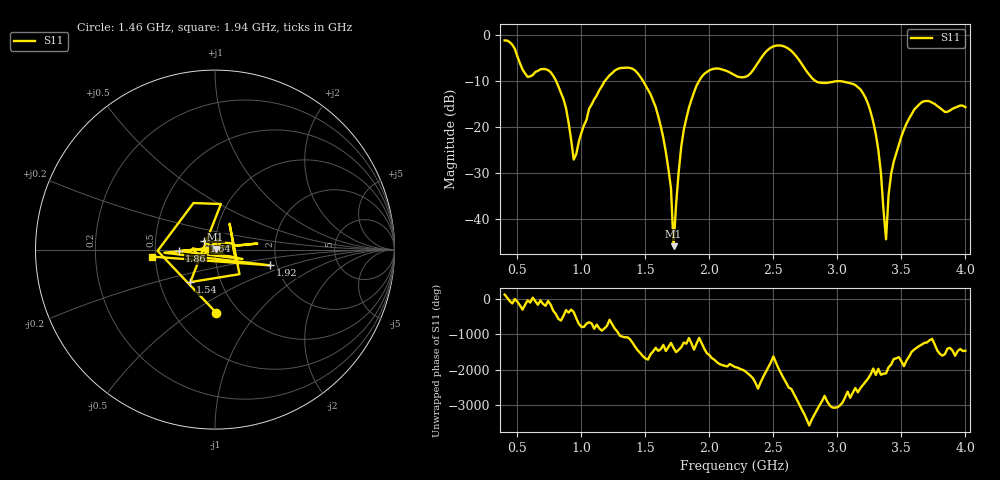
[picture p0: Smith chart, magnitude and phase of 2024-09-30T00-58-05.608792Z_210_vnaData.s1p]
!Created with skrf (http://scikit-rf.org).
# Hz S RI R 50.0
!freq ReS11 ImS11
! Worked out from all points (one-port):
!   181 points, 400 MHz to 4 GHz, reference 50 ohm
!   lowest |S11| = -45.9 dB at 1.72 GHz (marker M1), VSWR 1.01, Z = 50.3 + j0.42 ohm
!   |S11| at or under -10 dB: 802.5 MHz to 1.183 GHz (380.6 MHz wide, 38.3 % of centre); 1.482 GHz to 1.919 GHz (437.3 MHz wide, 25.7 % of centre); 2.83 GHz to end of sweep
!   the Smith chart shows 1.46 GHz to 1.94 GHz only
!   S11 on the Smith chart (normalised r, x): 1.46 GHz: 0.79, -0.63; 1.54 GHz: 0.72, -0.27; 1.64 GHz: 0.88, +0.08; 1.86 GHz: 0.67, -0.01; 1.92 GHz: 1.83, -0.36; 1.94 GHz: 0.48, -0.04
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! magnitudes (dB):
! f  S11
! 400 MHz  -1.2
! 580 MHz  -9.1
! 760 MHz  -8.1
! 860 MHz  -13.9
! 940 MHz  -27.1
! 1.06 GHz  -16.0
! 1.3 GHz  -7.2
! 1.46 GHz  -9.1
! 1.54 GHz  -12.9
! 1.64 GHz  -22.3
! 1.7 GHz  -33.4
! 1.72 GHz  -45.9
! 1.76 GHz  -29.8
! 1.86 GHz  -14.1
! 1.92 GHz  -10.0
! 1.94 GHz  -9.1
! 2.2 GHz  -8.8
! 2.5 GHz  -2.5
! 2.66 GHz  -4.0
! 2.84 GHz  -10.2
! 3.1 GHz  -10.5
! 3.28 GHz  -18.9
! 3.34 GHz  -30.0
! 3.38 GHz  -44.4
! 3.42 GHz  -30.1
! 3.56 GHz  -18.2
! 3.68 GHz  -14.4
! 4 GHz  -15.7
